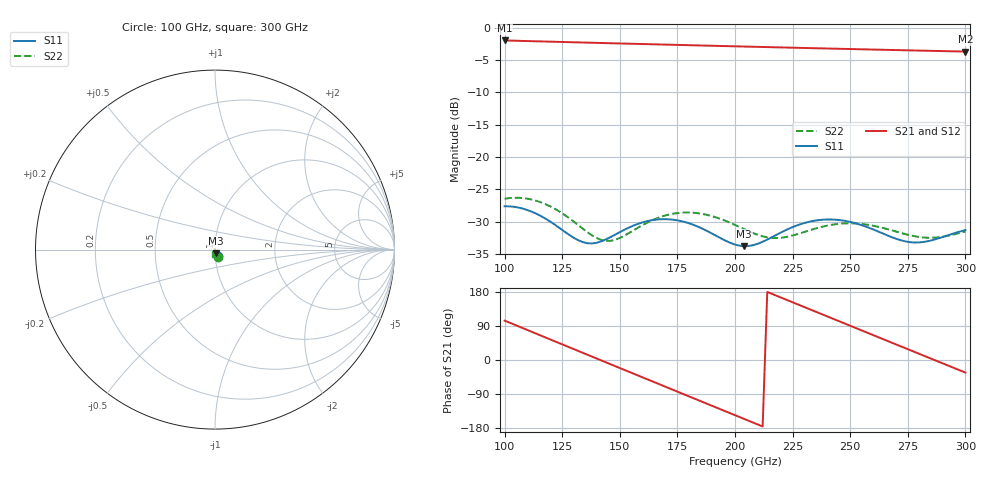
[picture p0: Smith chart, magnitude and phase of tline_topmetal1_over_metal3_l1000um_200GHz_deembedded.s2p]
! Created with skrf 2.2.0 (http://scikit-rf.org).
# GHz S DB R 50.0
! Port[1] = P1
! Port[2] = P2
!freq dBS11 angS11 dBS21 angS21 dBS12 angS12 dBS22 angS22
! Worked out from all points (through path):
!   101 points, 100 GHz to 300 GHz, reference 50 ohm
!   highest |S21| = -2.00 dB at 100 GHz (marker M1); lowest = -3.7 dB at 300 GHz (marker M2)
!   group delay of S21, straight-line fit = 6.9 ps
!   lowest |S11| = -33.8 dB at 204 GHz (marker M3), VSWR 1.04, Z = 50.3 - j2.04 ohm
!   |S11| at or under -10 dB: start of sweep to end of sweep
!   |S22| runs from -33.0 to -26.3 dB; largest |S21 - S12| = 1.4e-13
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100  -27.61 -63.3  -2.00 104.0  -2.00 104.0  -26.46 -66.7
108  -27.99 -74.9  -2.07 83.9  -2.07 83.9  -26.35 -80.0
116  -29.17 -84.2  -2.15 63.8  -2.15 63.8  -27.04 -92.2
126  -31.52 -87.8  -2.24 38.8  -2.24 38.8  -28.94 -103.3
134  -33.16 -79.8  -2.32 18.8  -2.32 18.8  -31.10 -104.5
142  -33.03 -67.4  -2.39 -1.2  -2.39 -1.2  -32.82 -94.9
150  -31.61 -62.6  -2.46 -21.2  -2.46 -21.2  -32.52 -81.0
160  -30.09 -67.7  -2.55 -46.1  -2.55 -46.1  -30.50 -76.4
168  -29.61 -75.7  -2.62 -66.0  -2.62 -66.0  -29.23 -81.4
176  -29.86 -84.2  -2.69 -86.0  -2.69 -86.0  -28.63 -89.5
184  -30.78 -90.9  -2.76 -105.9  -2.76 -105.9  -28.69 -98.2
200  -33.53 -86.9  -2.90 -145.6  -2.90 -145.6  -30.50 -109.6
204  -33.78 -81.4  -2.94 -155.6  -2.94 -155.6  -31.15 -109.7
218  -32.02 -68.9  -3.06 169.7  -3.06 169.7  -32.53 -99.8
234  -29.87 -77.7  -3.19 130.0  -3.19 130.0  -31.15 -92.4
242  -29.66 -85.4  -3.26 110.2  -3.26 110.2  -30.47 -95.2
250  -30.03 -92.7  -3.32 90.4  -3.32 90.4  -30.24 -99.9
258  -30.91 -97.7  -3.39 70.6  -3.39 70.6  -30.49 -104.4
268  -32.38 -97.6  -3.47 45.8  -3.47 45.8  -31.33 -107.1
284  -32.99 -84.1  -3.59 6.3  -3.59 6.3  -32.48 -99.9
292  -32.15 -80.3  -3.65 -13.5  -3.65 -13.5  -32.20 -94.3
300  -31.29 -81.2  -3.72 -33.2  -3.72 -33.2  -31.51 -91.5
